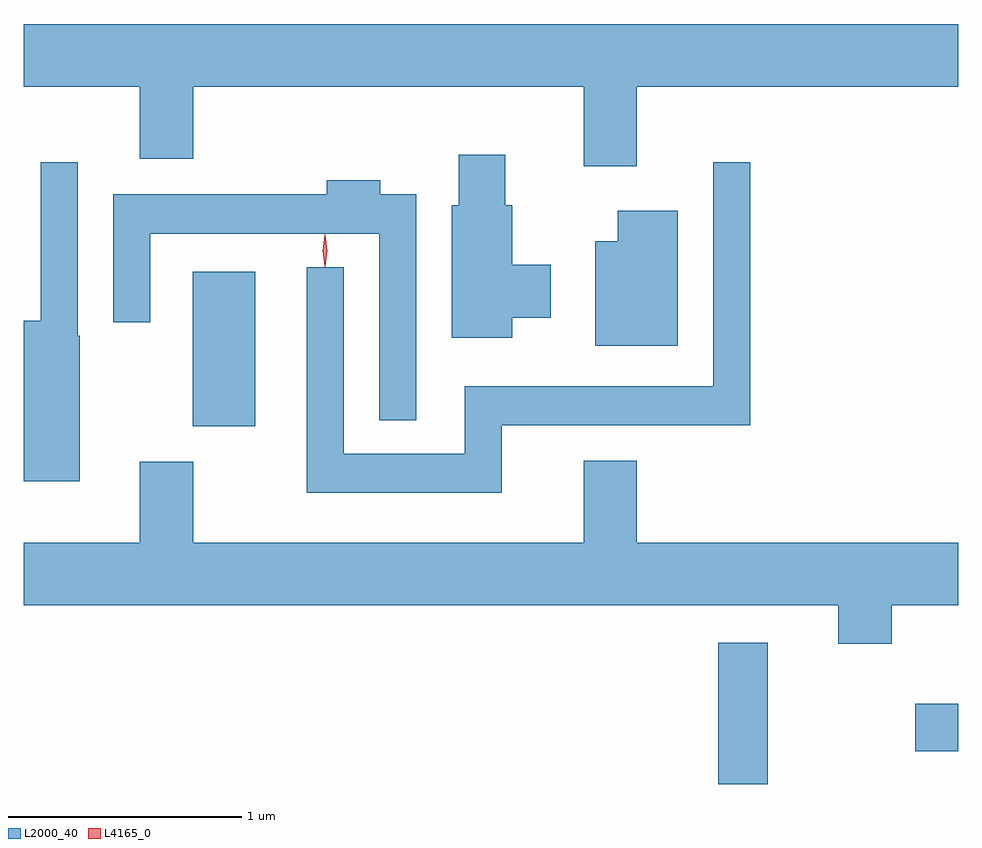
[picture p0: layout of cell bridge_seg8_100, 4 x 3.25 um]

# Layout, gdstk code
import gdstk
lib = gdstk.Library(unit=1e-6, precision=1e-09)
def R(c, l, rs):  # rectangles x0, y0, x1, y1
    for r in rs: c.add(gdstk.rectangle(r[:2], r[2:], *l))
def P(c, l, *ps):  # polygons
    for p in ps: c.add(gdstk.Polygon(p, *l))
L2000_40 = (2000, 40)
L4165_0 = (4165, 0)

bridge_seg8_100 = lib.new_cell('bridge_seg8_100')
R(bridge_seg8_100, L2000_40, [(1524.726,1811.23,1524.939,1811.834), (1525.571,1811.371,1525.754,1811.574), (1522.476,1812.761,1522.744,1813.424)])
P(bridge_seg8_100, L2000_40, [(1524.379,1814.216),(1525.754,1814.216),(1525.754,1814.484),(1521.754,1814.484),(1521.754,1814.216),(1522.251,1814.216),(1522.251,1813.906),(1522.479,1813.906),(1522.479,1814.216),(1524.151,1814.216),(1524.151,1813.876),(1524.379,1813.876)],
  [(1523.844,1813.226),(1524.009,1813.226),(1524.009,1813.454),(1523.844,1813.454),(1523.844,1813.709),(1523.814,1813.709),(1523.814,1813.924),(1523.616,1813.924),(1523.616,1813.709),(1523.586,1813.709),(1523.586,1813.141),(1523.844,1813.141)],
  [(1521.994,1813.15),(1521.984,1813.15),(1521.984,1813.893),(1521.826,1813.893),(1521.826,1813.214),(1521.754,1813.214),(1521.754,1812.526),(1521.994,1812.526)],
  [(1523.799,1812.766),(1524.864,1812.766),(1524.864,1813.893),(1524.706,1813.893),(1524.706,1812.934),(1523.641,1812.934),(1523.641,1812.644),(1523.124,1812.644),(1523.124,1813.443),(1522.966,1813.443),(1522.966,1812.476),(1523.799,1812.476)],
  [(1523.434,1813.754),(1523.279,1813.754),(1523.279,1813.814),(1523.051,1813.814),(1523.051,1813.754),(1522.136,1813.754),(1522.136,1813.208),(1522.294,1813.208),(1522.294,1813.586),(1523.276,1813.586),(1523.276,1812.788),(1523.434,1812.788)],
  [(1524.554,1813.684),(1524.296,1813.684),(1524.296,1813.554),(1524.201,1813.554),(1524.201,1813.106),(1524.554,1813.106)],
  [(1525.469,1811.996),(1525.754,1811.996),(1525.754,1812.264),(1524.379,1812.264),(1524.379,1812.614),(1524.151,1812.614),(1524.151,1812.264),(1522.479,1812.264),(1522.479,1812.609),(1522.251,1812.609),(1522.251,1812.264),(1521.754,1812.264),(1521.754,1811.996),(1525.241,1811.996),(1525.241,1811.831),(1525.469,1811.831)])
P(bridge_seg8_100, L4165_0, [(1523.043,1813.443),(1523.043,1813.444),(1523.033,1813.513),(1523.043,1813.582),(1523.043,1813.583),(1523.044,1813.582),(1523.053,1813.513),(1523.044,1813.444)])

lib.write_gds('bridge_seg8_100.gds')
